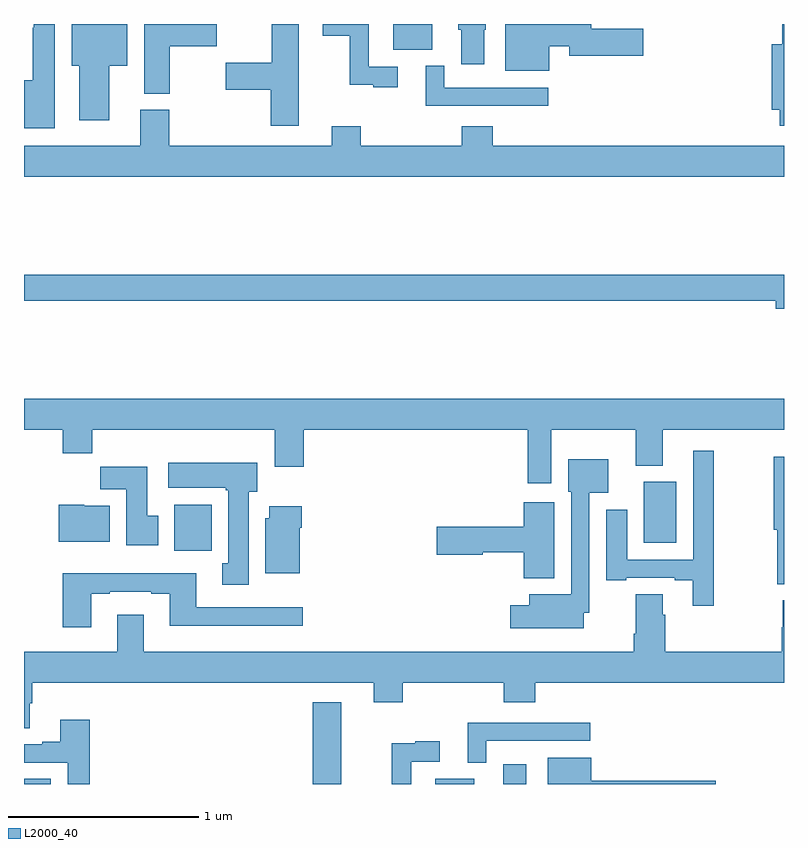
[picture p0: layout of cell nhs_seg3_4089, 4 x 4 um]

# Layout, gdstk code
import gdstk
lib = gdstk.Library(unit=1e-6, precision=1e-09)
def R(c, l, rs):  # rectangles x0, y0, x1, y1
    for r in rs: c.add(gdstk.rectangle(r[:2], r[2:], *l))
def P(c, l, *ps):  # polygons
    for p in ps: c.add(gdstk.Polygon(p, *l))
L2000_40 = (2000, 40)

nhs_seg3_4089 = lib.new_cell('nhs_seg3_4089')
R(nhs_seg3_4089, L2000_40, [(327,684.4,327.142,684.428), (328.52,684.4,328.669,684.829), (329.165,684.4,329.371,684.427), (329.522,684.4,329.644,684.505), (327.791,685.628,327.988,685.87), (330.263,685.67,330.433,685.99), (328.943,688.265,329.149,688.4)])
P(nhs_seg3_4089, L2000_40, [(328.447,688.4),(328.303,688.4),(328.303,688.196),(328.062,688.196),(328.062,688.054),(328.298,688.054),(328.298,687.864),(328.447,687.864)],
  [(327.448,688.181),(327.544,688.181),(327.544,688.4),(327.251,688.4),(327.251,688.181),(327.29,688.181),(327.29,687.894),(327.448,687.894)],
  [(329.422,688.371),(329.431,688.371),(329.431,688.4),(329.285,688.4),(329.285,688.371),(329.3,688.371),(329.3,688.188),(329.422,688.188)],
  [(328.966,688.176),(328.815,688.176),(328.815,688.4),(328.572,688.4),(328.572,688.339),(328.714,688.339),(328.714,688.079),(328.838,688.079),(328.838,688.068),(328.966,688.068)],
  [(331,688.4),(330.991,688.4),(330.991,688.294),(330.935,688.294),(330.935,687.95),(330.978,687.95),(330.978,687.864),(331,687.864)],
  [(329.764,688.283),(329.87,688.283),(329.87,688.234),(330.259,688.234),(330.259,688.376),(329.986,688.376),(329.986,688.4),(329.534,688.4),(329.534,688.154),(329.764,688.154)],
  [(327.163,688.4),(327.051,688.4),(327.051,688.379),(327.047,688.379),(327.047,688.105),(327,688.105),(327,687.851),(327.163,687.851)],
  [(327.766,688.283),(328.014,688.283),(328.014,688.4),(327.632,688.4),(327.632,688.033),(327.766,688.033)],
  [(329.758,688.065),(329.211,688.065),(329.211,688.18),(329.114,688.18),(329.114,687.969),(329.758,687.969)],
  [(331,687.76),(329.468,687.76),(329.468,687.862),(329.303,687.862),(329.303,687.76),(328.772,687.76),(328.772,687.862),(328.619,687.862),(328.619,687.76),(327.764,687.76),(327.764,687.948),(327.611,687.948),(327.611,687.76),(327,687.76),(327,687.596),(331,687.596)],
  [(331,687.08),(327,687.08),(327,686.944),(330.956,686.944),(330.956,686.902),(331,686.902)],
  [(329.776,686.264),(330.221,686.264),(330.221,686.075),(330.361,686.075),(330.361,686.264),(331,686.264),(331,686.428),(327,686.428),(327,686.264),(327.203,686.264),(327.203,686.14),(327.359,686.14),(327.359,686.264),(328.319,686.264),(328.319,686.07),(328.472,686.07),(328.472,686.264),(329.651,686.264),(329.651,685.983),(329.776,685.983)],
  [(330.631,686.155),(330.522,686.155),(330.522,685.581),(330.175,685.581),(330.175,685.843),(330.065,685.843),(330.065,685.473),(330.169,685.473),(330.169,685.485),(330.425,685.485),(330.425,685.473),(330.521,685.473),(330.521,685.338),(330.631,685.338)],
  [(331,686.122),(330.946,686.122),(330.946,685.737),(330.964,685.737),(330.964,685.452),(331,685.452)],
  [(329.947,685.301),(329.976,685.301),(329.976,685.934),(330.076,685.934),(330.076,686.11),(329.864,686.11),(329.864,685.938),(329.88,685.938),(329.88,685.399),(329.66,685.399),(329.66,685.342),(329.559,685.342),(329.559,685.22),(329.947,685.22)],
  [(328.183,685.938),(328.228,685.938),(328.228,686.092),(327.759,686.092),(327.759,685.958),(328.063,685.958),(328.063,685.945),(328.076,685.945),(328.076,685.562),(328.043,685.562),(328.043,685.449),(328.183,685.449)],
  [(327.706,685.812),(327.649,685.812),(327.649,686.071),(327.4,686.071),(327.4,685.952),(327.539,685.952),(327.539,685.656),(327.706,685.656)],
  [(329.791,685.882),(329.63,685.882),(329.63,685.754),(329.172,685.754),(329.172,685.607),(329.415,685.607),(329.415,685.619),(329.63,685.619),(329.63,685.484),(329.791,685.484)],
  [(327.451,685.864),(327.318,685.864),(327.318,685.87),(327.182,685.87),(327.182,685.676),(327.451,685.676)],
  [(328.45,685.748),(328.463,685.748),(328.463,685.861),(328.292,685.861),(328.292,685.8),(328.271,685.8),(328.271,685.508),(328.45,685.508)],
  [(327.355,685.401),(327.451,685.401),(327.451,685.413),(327.671,685.413),(327.671,685.401),(327.767,685.401),(327.767,685.232),(328.468,685.232),(328.468,685.329),(327.907,685.329),(327.907,685.51),(327.203,685.51),(327.203,685.224),(327.355,685.224)],
  [(327.031,684.826),(327.044,684.826),(327.044,684.932),(328.841,684.932),(328.841,684.83),(328.994,684.83),(328.994,684.932),(329.525,684.932),(329.525,684.83),(329.69,684.83),(329.69,684.932),(331,684.932),(331,685.367),(330.994,685.367),(330.994,685.224),(330.987,685.224),(330.987,685.096),(330.374,685.096),(330.374,685.292),(330.361,685.292),(330.361,685.4),(330.221,685.4),(330.221,685.192),(330.209,685.192),(330.209,685.096),(327.631,685.096),(327.631,685.291),(327.491,685.291),(327.491,685.096),(327,685.096),(327,684.694),(327.031,684.694)],
  [(327.347,684.739),(327.191,684.739),(327.191,684.622),(327.095,684.622),(327.095,684.609),(327,684.609),(327,684.513),(327.231,684.513),(327.231,684.4),(327.347,684.4)],
  [(329.433,684.627),(329.98,684.627),(329.98,684.723),(329.336,684.723),(329.336,684.512),(329.433,684.512)],
  [(329.037,684.516),(329.188,684.516),(329.188,684.625),(329.06,684.625),(329.06,684.614),(328.936,684.614),(328.936,684.4),(329.037,684.4)],
  [(330.64,684.416),(329.986,684.416),(329.986,684.538),(329.756,684.538),(329.756,684.4),(330.64,684.4)])

lib.write_gds('nhs_seg3_4089.gds')
